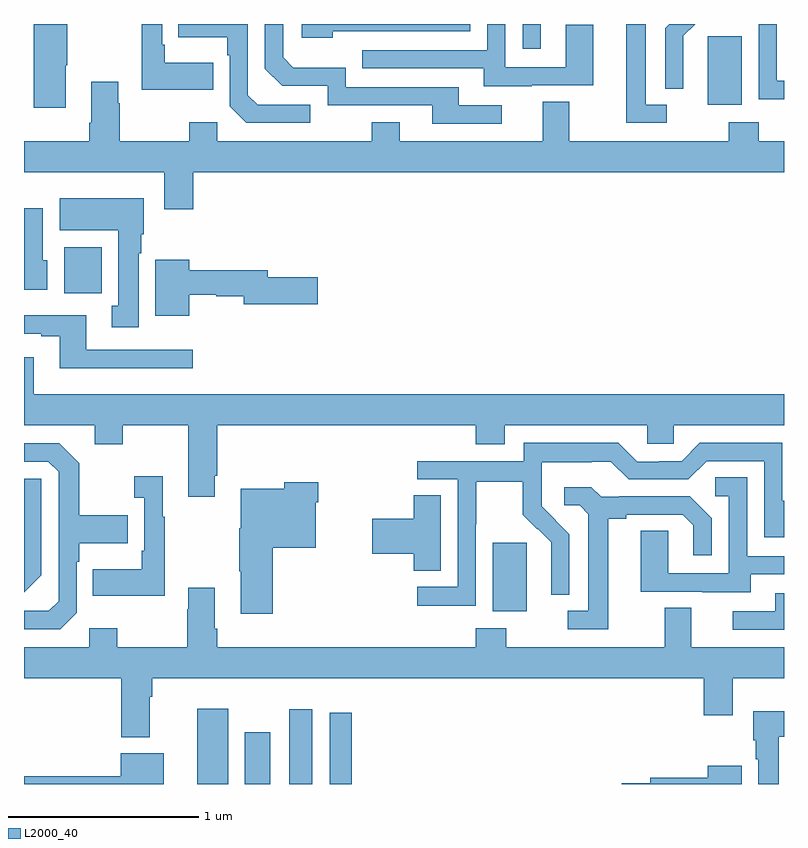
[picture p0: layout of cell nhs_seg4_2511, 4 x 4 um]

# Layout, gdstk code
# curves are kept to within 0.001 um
import gdstk
lib = gdstk.Library(unit=1e-6, precision=1e-09)
def R(c, l, rs):  # rectangles x0, y0, x1, y1
    for r in rs: c.add(gdstk.rectangle(r[:2], r[2:], *l))
def P(c, l, *ps):  # polygons
    for p in ps: c.add(gdstk.Polygon(p, *l))
L2000_40 = (2000, 40)

nhs_seg4_2511 = lib.new_cell('nhs_seg4_2511')
R(nhs_seg4_2511, L2000_40, [(241.913,826.9,242.074,827.296), (242.162,826.9,242.296,827.173), (242.396,826.9,242.518,827.293), (242.61,826.9,242.726,827.275), (243.467,827.81,243.646,828.171), (241.211,829.484,241.408,829.726), (244.598,830.474,244.777,830.835), (243.624,830.769,243.721,830.9)])
P(nhs_seg4_2511, L2000_40, [(243.673,830.577),(243.997,830.577),(243.997,830.897),(243.852,830.897),(243.852,830.673),(243.534,830.673),(243.534,830.9),(243.438,830.9),(243.438,830.763),(242.779,830.763),(242.779,830.667),(243.419,830.667),(243.419,830.573),(243.673,830.573)],
  [(241.219,830.683),(241.227,830.683),(241.227,830.9),(241.052,830.9),(241.052,830.46),(241.219,830.46)],
  [(241.997,830.695),(241.741,830.695),(241.741,830.791),(241.728,830.791),(241.728,830.9),(241.62,830.9),(241.62,830.555),(241.997,830.555)],
  [(244.384,830.475),(244.273,830.475),(244.273,830.9),(244.169,830.9),(244.169,830.379),(244.384,830.379)],
  [(242.506,830.475),(242.229,830.475),(242.178,830.526),(242.178,830.9),(241.813,830.9),(241.813,830.831),(242.07,830.831),(242.07,830.735),(242.082,830.735),(242.082,830.466),(242.169,830.379),(242.506,830.379)],
  [(243.514,830.472),(243.289,830.472),(243.289,830.568),(242.694,830.568),(242.694,830.671),(242.417,830.671),(242.364,830.724),(242.364,830.9),(242.268,830.9),(242.268,830.664),(242.358,830.574),(242.598,830.574),(242.598,830.472),(243.149,830.472),(243.149,830.376),(243.514,830.376)],
  [(245,830.601),(244.962,830.601),(244.962,830.9),(244.866,830.9),(244.866,830.503),(245,830.503)],
  [(244.47,830.714),(244.469,830.714),(244.469,830.837),(244.532,830.9),(244.396,830.9),(244.374,830.878),(244.374,830.56),(244.47,830.56)],
  [(242.624,830.862),(243.348,830.862),(243.348,830.9),(242.463,830.9),(242.463,830.828),(242.624,830.828)],
  [(241.892,830.12),(245,830.12),(245,830.284),(244.868,830.284),(244.868,830.383),(244.708,830.383),(244.708,830.284),(243.871,830.284),(243.871,830.492),(243.731,830.492),(243.731,830.284),(242.977,830.284),(242.977,830.383),(242.83,830.383),(242.83,830.284),(242.016,830.284),(242.016,830.383),(241.87,830.383),(241.87,830.284),(241.503,830.284),(241.503,830.483),(241.495,830.483),(241.495,830.596),(241.355,830.596),(241.355,830.38),(241.343,830.38),(241.343,830.284),(241,830.284),(241,830.12),(241.739,830.12),(241.739,829.926),(241.892,829.926)],
  [(241.603,829.694),(241.618,829.694),(241.618,829.794),(241.63,829.794),(241.63,829.984),(241.187,829.984),(241.187,829.814),(241.496,829.814),(241.496,829.418),(241.463,829.418),(241.463,829.305),(241.603,829.305)],
  [(241.123,829.656),(241.099,829.656),(241.099,829.93),(241,829.93),(241,829.502),(241.123,829.502)],
  [(241.87,829.476),(242.013,829.476),(242.013,829.468),(242.156,829.468),(242.156,829.426),(242.545,829.426),(242.545,829.568),(242.284,829.568),(242.284,829.604),(241.87,829.604),(241.87,829.66),(241.691,829.66),(241.691,829.364),(241.87,829.364)],
  [(241.888,829.185),(241.327,829.185),(241.327,829.366),(241,829.366),(241,829.269),(241.091,829.269),(241.091,829.257),(241.187,829.257),(241.187,829.088),(241.888,829.088)],
  [(241.051,829.147),(241,829.147),(241,828.788),(241.373,828.788),(241.373,828.689),(241.521,828.689),(241.521,828.788),(241.865,828.788),(241.865,828.411),(242.005,828.411),(242.005,828.523),(242.018,828.523),(242.018,828.788),(243.377,828.788),(243.377,828.689),(243.529,828.689),(243.529,828.788),(244.281,828.788),(244.281,828.69),(244.419,828.69),(244.419,828.788),(245,828.788),(245,828.952),(241.051,828.952)],
  [(243.378,828.268),(243.381,828.268),(243.381,828.492),(243.625,828.492),(243.625,828.317),(243.702,828.24),(243.705,828.243),(243.776,828.173),(243.776,828.05),(243.774,828.05),(243.774,827.896),(243.87,827.896),(243.87,828.214),(243.724,828.362),(243.724,828.459),(243.726,828.459),(243.726,828.593),(243.989,828.593),(243.989,828.597),(244.089,828.597),(244.182,828.504),(244.497,828.504),(244.593,828.6),(244.896,828.6),(244.896,828.198),(245,828.198),(245,828.391),(244.992,828.391),(244.992,828.696),(244.557,828.696),(244.461,828.6),(244.343,828.6),(244.343,828.597),(244.227,828.597),(244.127,828.697),(243.63,828.697),(243.63,828.6),(243.069,828.6),(243.069,828.504),(243.282,828.504),(243.282,827.937),(243.069,827.937),(243.069,827.839),(243.378,827.839)],
  [(241.278,827.802),(241.278,828.071),(241.291,828.071),(241.291,828.167),(241.547,828.167),(241.547,828.315),(241.291,828.315),(241.291,828.587),(241.185,828.693),(241,828.693),(241,828.597),(241.128,828.597),(241.182,828.543),(241.182,827.862),(241.131,827.811),(241,827.811),(241,827.715),(241.191,827.715)],
  [(241.741,828.307),(241.729,828.307),(241.729,828.52),(241.581,828.52),(241.581,828.407),(241.632,828.407),(241.632,828.127),(241.62,828.127),(241.62,828.031),(241.363,828.031),(241.363,827.891),(241.741,827.891)],
  [(244.825,828.003),(245,828.003),(245,828.099),(244.806,828.099),(244.806,828.515),(244.638,828.515),(244.638,828.414),(244.71,828.414),(244.71,828.009),(244.392,828.009),(244.392,828.233),(244.247,828.233),(244.247,827.913),(244.571,827.913),(244.571,827.909),(244.825,827.909)],
  [(241.092,828),(241.092,828.507),(241,828.507),(241,827.91),(241.002,827.91)],
  [(242.309,828.143),(242.536,828.143),(242.536,828.383),(242.549,828.383),(242.549,828.487),(242.371,828.487),(242.371,828.454),(242.141,828.454),(242.141,828.247),(242.134,828.247),(242.134,828.019),(242.141,828.019),(242.141,827.796),(242.309,827.796)],
  [(244.075,828.296),(244.171,828.296),(244.171,828.318),(244.466,828.318),(244.523,828.261),(244.523,828.105),(244.62,828.105),(244.62,828.298),(244.504,828.414),(244.132,828.414),(244.132,828.411),(244.038,828.411),(243.986,828.463),(243.843,828.463),(243.843,828.366),(243.924,828.366),(243.971,828.319),(243.971,827.811),(243.861,827.811),(243.861,827.715),(244.075,827.715)],
  [(243.193,828.419),(243.05,828.419),(243.05,828.296),(242.832,828.296),(242.832,828.113),(243.05,828.113),(243.05,828.022),(243.193,828.022)],
  [(244.577,827.262),(244.729,827.262),(244.729,827.456),(245,827.456),(245,827.62),(244.513,827.62),(244.513,827.828),(244.373,827.828),(244.373,827.62),(243.537,827.62),(243.537,827.719),(243.377,827.719),(243.377,827.62),(242.018,827.62),(242.018,827.716),(242.005,827.716),(242.005,827.932),(241.865,827.932),(241.865,827.819),(241.858,827.819),(241.858,827.62),(241.491,827.62),(241.491,827.719),(241.344,827.719),(241.344,827.62),(241,827.62),(241,827.456),(241.511,827.456),(241.511,827.147),(241.663,827.147),(241.663,827.36),(241.676,827.36),(241.676,827.456),(244.577,827.456)],
  [(245,827.904),(244.955,827.904),(244.955,827.808),(244.731,827.808),(244.731,827.712),(245,827.712)],
  [(244.972,827.15),(245,827.15),(245,827.284),(244.838,827.284),(244.838,827.13),(244.85,827.13),(244.85,827.03),(244.865,827.03),(244.865,826.9),(244.972,826.9)],
  [(241.735,827.062),(241.508,827.062),(241.508,826.94),(241,826.94),(241,826.9),(241.735,826.9)],
  [(244.777,826.996),(244.598,826.996),(244.598,826.934),(244.295,826.934),(244.295,826.904),(244.146,826.904),(244.146,826.9),(244.777,826.9)])

lib.write_gds('nhs_seg4_2511.gds')
